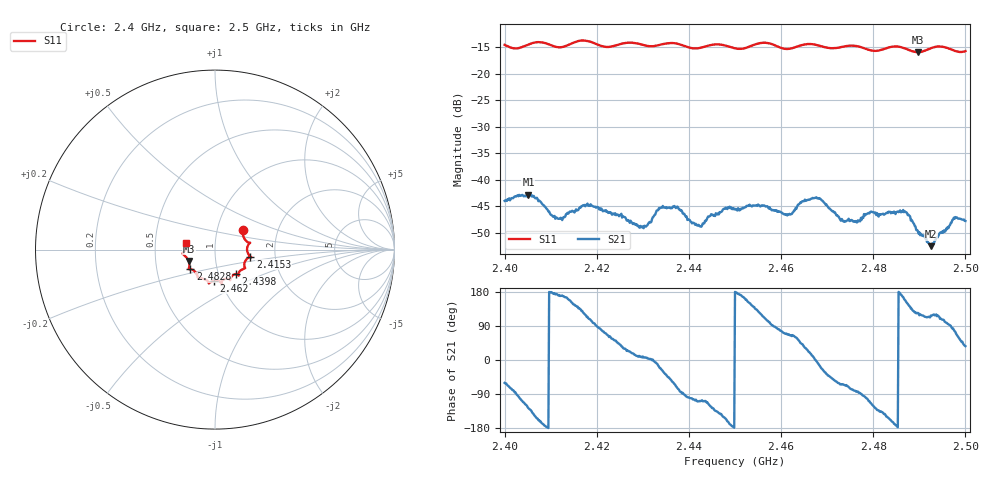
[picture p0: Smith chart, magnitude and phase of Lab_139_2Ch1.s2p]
# Hz S RI R 50
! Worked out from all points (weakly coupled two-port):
!   601 points, 2.4 GHz to 2.5 GHz, reference 50 ohm
!   highest |S21| = -42.85 dB at 2.4052 GHz (marker M1); lowest = -52.6 dB at 2.4925 GHz (marker M2)
!   lowest |S11| = -15.9 dB at 2.4897 GHz (marker M3), VSWR 1.38, Z = 36.9 - j4.81 ohm
!   |S11| at or under -10 dB: start of sweep to end of sweep
!   S12 and S22 are empty: the file has one direction only
!   S11 on the Smith chart (normalised r, x): 2.4 GHz: 1.33, +0.29; 2.4153 GHz: 1.48, -0.12; 2.4398 GHz: 1.21, -0.34; 2.462 GHz: 0.93, -0.33; 2.4828 GHz: 0.74, -0.17; 2.5 GHz: 0.72, +0.06
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2.4e9  0.155 0.1067  0.00311 -0.00549  0 0  0 0
2.405167e9  0.1856 0.0397  -0.00435 -0.00574  0 0  0 0
2.4115e9  0.1789 0.0073  -0.00425 0.00059  0 0  0 0
2.415333e9  0.1966 -0.0385  -0.00405 0.00303  0 0  0 0
2.416667e9  0.2025 -0.0425  -0.00359 0.00431  0 0  0 0
2.429667e9  0.1561 -0.1086  0.00354 0.000529  0 0  0 0
2.433333e9  0.1305 -0.1337  0.00498 -0.00131  0 0  0 0
2.437167e9  0.1316 -0.143  0.00194 -0.00503  0 0  0 0
2.439833e9  0.1153 -0.1361  -0.000625 -0.00414  0 0  0 0
2.442333e9  0.093 -0.1493  -0.00112 -0.00344  0 0  0 0
2.45e9  0.0649 -0.1623  -0.00527 1.71e-05  0 0  0 0
2.456167e9  0.0389 -0.1932  -0.00233 0.00521  0 0  0 0
2.462e9  -0.00497 -0.1733  0.00197 0.00425  0 0  0 0
2.466667e9  -0.0345 -0.1882  0.0065 0.00137  0 0  0 0
2.4735e9  -0.0845 -0.1603  0.00174 -0.00364  0 0  0 0
2.482833e9  -0.1365 -0.1093  -0.00416 -0.00247  0 0  0 0
2.483333e9  -0.1402 -0.1091  -0.00445 -0.00224  0 0  0 0
2.487e9  -0.1436 -0.0973  -0.00454 0.00195  0 0  0 0
2.489667e9  -0.1471 -0.0635  -0.00185 0.00273  0 0  0 0
2.4925e9  -0.1723 -0.0303  -0.00108 0.00209  0 0  0 0
2.497667e9  -0.1654 0.000577  0.00102 0.00415  0 0  0 0
2.5e9  -0.1596 0.0388  0.00327 0.00241  0 0  0 0
